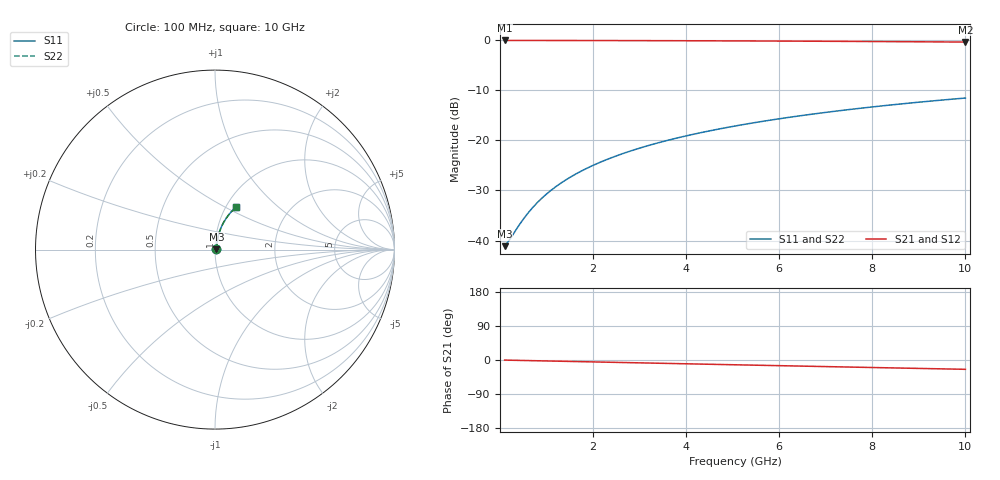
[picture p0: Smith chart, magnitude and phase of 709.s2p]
# Hz S RI R 50.00
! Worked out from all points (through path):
!   100 points, 100 MHz to 10 GHz, reference 50 ohm
!   highest |S21| = -0.07 dB at 100 MHz (marker M1); lowest = -0.4 dB at 10 GHz (marker M2)
!   group delay of S21, straight-line fit = 6.84 ps
!   lowest |S11| = -41.1 dB at 100 MHz (marker M3), VSWR 1.02, Z = 50.8 + j0.28 ohm
!   |S11| at or under -10 dB: start of sweep to end of sweep
!   |S22| runs from -41.1 to -11.6 dB; largest |S21 - S12| = 0
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1e8  0.00835 0.00275  0.9916 -0.00435  0.9916 -0.00435  0.00835 0.00275
2e8  0.00844 0.0055  0.9915 -0.00869  0.9915 -0.00869  0.00844 0.0055
4e8  0.00866 0.011  0.9913 -0.0174  0.9913 -0.0174  0.00866 0.011
5e8  0.0088 0.0137  0.9912 -0.0217  0.9912 -0.0217  0.0088 0.0137
6e8  0.00895 0.0165  0.991 -0.0261  0.991 -0.0261  0.00895 0.0165
7e8  0.00913 0.0192  0.9908 -0.0304  0.9908 -0.0304  0.00913 0.0192
9e8  0.00956 0.0247  0.9903 -0.0391  0.9903 -0.0391  0.00956 0.0247
1.1e9  0.0101 0.0302  0.9898 -0.0477  0.9898 -0.0477  0.0101 0.0302
1.3e9  0.0107 0.0356  0.9891 -0.0564  0.9891 -0.0564  0.0107 0.0356
1.5e9  0.0114 0.0411  0.9883 -0.065  0.9883 -0.065  0.0114 0.0411
1.8e9  0.0126 0.0492  0.987 -0.078  0.987 -0.078  0.0126 0.0492
2.1e9  0.014 0.0573  0.9854 -0.0908  0.9854 -0.0908  0.014 0.0573
2.5e9  0.0163 0.068  0.9829 -0.108  0.9829 -0.108  0.0163 0.068
2.9e9  0.0189 0.0786  0.98 -0.125  0.98 -0.125  0.0189 0.0786
3.4e9  0.0226 0.0917  0.9759 -0.1461  0.9759 -0.1461  0.0226 0.0917
4.2e9  0.0298 0.1123  0.9679 -0.1795  0.9679 -0.1795  0.0298 0.1123
5.1e9  0.0395 0.1346  0.9571 -0.2163  0.9571 -0.2163  0.0395 0.1346
5.9e9  0.0494 0.1537  0.946 -0.2482  0.946 -0.2482  0.0494 0.1537
6.7e9  0.0606 0.1719  0.9335 -0.2793  0.9335 -0.2793  0.0606 0.1719
7.5e9  0.0729 0.1892  0.9197 -0.3095  0.9197 -0.3095  0.0729 0.1892
8.4e9  0.088 0.2074  0.9027 -0.3423  0.9027 -0.3423  0.088 0.2074
1e10  0.1177 0.2366  0.8691 -0.3974  0.8691 -0.3974  0.1177 0.2366
